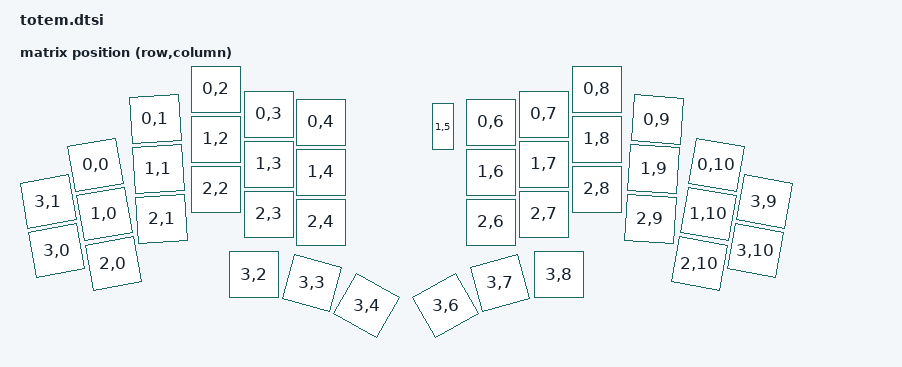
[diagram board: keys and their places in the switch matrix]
/*
* Copyright (c) 2022 The ZMK Contributors
*
* SPDX-License-Identifier: MIT
*/

#include <dt-bindings/zmk/matrix_transform.h>
#include <physical_layouts.dtsi>

/ {
    chosen {
        zmk,kscan = &kscan0;
        zmk,physical-layout = &default_layout;
    };

    default_transform: keymap_transform_0 {
        compatible = "zmk,matrix-transform";
        columns = <11>;
        rows = <4>;
 // NOTE THAT THE PHYSICAL POSITION OF THE `LSW(L/R)` toggle switch IS TO THE INSIDE OF SW05, IT IS REPRESENTED IN THE OUTER COLUMN
 // LSWL is kil :(
 //      | LSWL | SW01  | SW02  | SW03  | SW04  | SW05  |  | SW05  | SW04  | SW03  | SW02  | SW01  | LSWR |
 //      | SW17 | SW06  | SW07  | SW08  | SW09  | SW10  |  | SW10  | SW09  | SW08  | SW07  | SW06  | SW17 |
 //      | SW16 | SW11  | SW12  | SW13  | SW14  | SW15  |  | SW15  | SW14  | SW13  | SW12  | SW11  | SW16 |
 //                             | SW18  | SW19  | SW20  |  | SW20  | SW19  | SW18  |
// column: on left: column#, on right: 10-column#
         map = <
                 RC(0,0) RC(0,1) RC(0,2) RC(0,3) RC(0,4)    RC(0,6) RC(0,7) RC(0,8) RC(0,9) RC(0,10) RC(1,5)
         RC(3,1) RC(1,0) RC(1,1) RC(1,2) RC(1,3) RC(1,4)    RC(1,6) RC(1,7) RC(1,8) RC(1,9) RC(1,10) RC(3,9)
         RC(3,0) RC(2,0) RC(2,1) RC(2,2) RC(2,3) RC(2,4)    RC(2,6) RC(2,7) RC(2,8) RC(2,9) RC(2,10) RC(3,10)
                                 RC(3,2) RC(3,3) RC(3,4)    RC(3,6) RC(3,7) RC(3,8)
         >;
     };


    kscan0: kscan_0 {
        diode-direction = "col2row";
    };

    default_layout: default_layout {
        compatible = "zmk,physical-layout";
        display-name = "TOTEM";

        transform = <&default_transform>;

        keys  //                     w   h    x    y     rot    rx    ry
            = <&key_physical_attrs 106 100   95  152 (-1000)   148   202>
            , <&key_physical_attrs 106 100  214   60  (-400)   267   110>
            , <&key_physical_attrs 106 100  335    0       0     0     0>
            , <&key_physical_attrs 106 100  441   50       0     0     0>
            , <&key_physical_attrs 106 100  546   66       0     0     0>
            , <&key_physical_attrs 106 100  885   66       0     0     0>
            , <&key_physical_attrs 106 100  991   50       0     0     0>
            , <&key_physical_attrs 106 100 1097    0       0     0     0>
            , <&key_physical_attrs 106 100 1218   61     400  1271   111>
            , <&key_physical_attrs 106 100 1337  152    1000  1390   202>
            , <&key_physical_attrs  50 100  817   75       0  1485   276>
            , <&key_physical_attrs 106 100    0  225 (-1000)    53   276>
            , <&key_physical_attrs 106 100  112  250 (-1000)   165   300>
            , <&key_physical_attrs 106 100  220  160  (-400)   273   210>
            , <&key_physical_attrs 106 100  335  100       0     0     0>
            , <&key_physical_attrs 106 100  441  150       0     0     0>
            , <&key_physical_attrs 106 100  546  166       0     0     0>
            , <&key_physical_attrs 106 100  885  166       0     0     0>
            , <&key_physical_attrs 106 100  991  150       0     0     0>
            , <&key_physical_attrs 106 100 1097  100       0     0     0>
            , <&key_physical_attrs 106 100 1211  160     400  1264   210>
            , <&key_physical_attrs 106 100 1320  250    1000  1373   300>
            , <&key_physical_attrs 106 100 1432  225    1000  1485   276>
            , <&key_physical_attrs 106 100   17  323 (-1000)    70   373>
            , <&key_physical_attrs 106 100  130  349 (-1000)   183   399>
            , <&key_physical_attrs 106 100  227  260  (-400)   280   310>
            , <&key_physical_attrs 106 100  335  200       0     0     0>
            , <&key_physical_attrs 106 100  441  250       0     0     0>
            , <&key_physical_attrs 106 100  546  266       0     0     0>
            , <&key_physical_attrs 106 100  885  266       0     0     0>
            , <&key_physical_attrs 106 100  991  250       0     0     0>
            , <&key_physical_attrs 106 100 1097  200       0     0     0>
            , <&key_physical_attrs 106 100 1204  260     400  1257   310>
            , <&key_physical_attrs 106 100 1302  349    1000  1355   399>
            , <&key_physical_attrs 106 100 1414  323    1000  1467   373>
            , <&key_physical_attrs 106 100  411  371       0     0     0>
            , <&key_physical_attrs 106 100  528  388    1500   581   438>
            , <&key_physical_attrs 106 100  637  433    3000   690   483>
            , <&key_physical_attrs 106 100  795  433 (-3000)   848   483>
            , <&key_physical_attrs 106 100  904  388 (-1500)   957   438>
            , <&key_physical_attrs 106 100 1021  371       0     0     0>
            ;
    }; 
};
